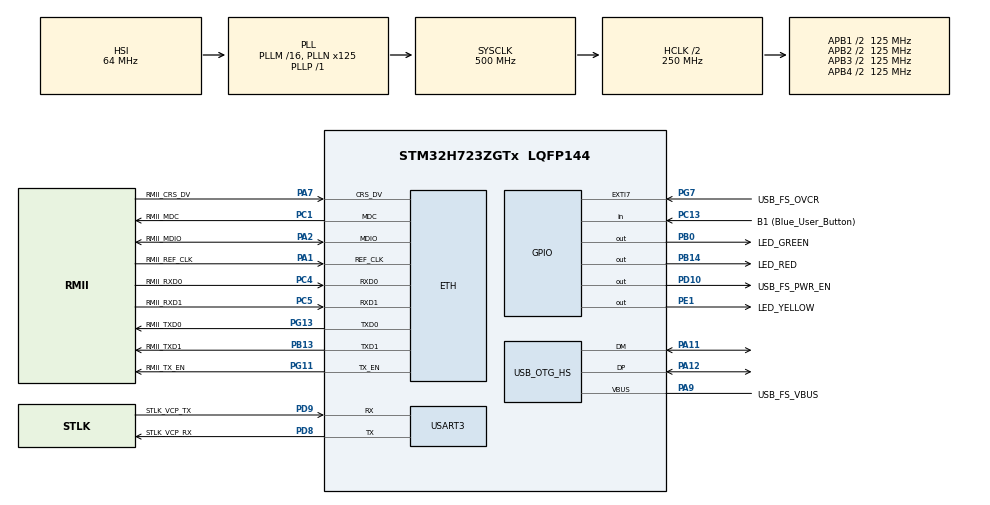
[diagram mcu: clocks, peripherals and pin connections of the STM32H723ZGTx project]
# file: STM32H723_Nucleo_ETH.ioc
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CORTEX_M7.AccessPermission_S-Cortex_Memory_Protection_Unit_Region1_Settings_S=MPU_REGION_FULL_ACCESS
CORTEX_M7.AccessPermission_S-Cortex_Memory_Protection_Unit_Region2_Settings_S=MPU_REGION_FULL_ACCESS
CORTEX_M7.BaseAddress_S-Cortex_Memory_Protection_Unit_Region1_Settings_S=0x30000000
CORTEX_M7.BaseAddress_S-Cortex_Memory_Protection_Unit_Region2_Settings_S=0x30000000
CORTEX_M7.CPU_DCache=Enabled
CORTEX_M7.CPU_ICache=Enabled
CORTEX_M7.DisableExec_S-Cortex_Memory_Protection_Unit_Region1_Settings_S=MPU_INSTRUCTION_ACCESS_DISABLE
CORTEX_M7.DisableExec_S-Cortex_Memory_Protection_Unit_Region2_Settings_S=MPU_INSTRUCTION_ACCESS_DISABLE
CORTEX_M7.Enable_S-Cortex_Memory_Protection_Unit_Region1_Settings_S=MPU_REGION_ENABLE
CORTEX_M7.Enable_S-Cortex_Memory_Protection_Unit_Region2_Settings_S=MPU_REGION_ENABLE
CORTEX_M7.IsBufferable_S-Cortex_Memory_Protection_Unit_Region2_Settings_S=MPU_ACCESS_BUFFERABLE
CORTEX_M7.IsShareable_S-Cortex_Memory_Protection_Unit_Region2_Settings_S=MPU_ACCESS_SHAREABLE
CORTEX_M7.Size_S-Cortex_Memory_Protection_Unit_Region1_Settings_S=MPU_REGION_SIZE_32KB
CORTEX_M7.Size_S-Cortex_Memory_Protection_Unit_Region2_Settings_S=MPU_REGION_SIZE_512B
CORTEX_M7.TypeExtField_S-Cortex_Memory_Protection_Unit_Region1_Settings_S=MPU_TEX_LEVEL1
CORTEX_M7.default_mode_Activation=1
ETH.MediaInterface=HAL_ETH_RMII_MODE
ETH.RxBuffAddress=0x30000200
ETH.RxBuffLen=1536
ETH.TxDescAddress=0x30000100
FREERTOS.Tasks01=defaultTask,24,512,StartDefaultTask,Default,NULL,Dynamic,NULL,NULL
FREERTOS.configCHECK_FOR_STACK_OVERFLOW=1
FREERTOS.configMINIMAL_STACK_SIZE=512
FREERTOS.configTOTAL_HEAP_SIZE=30*1024
FREERTOS.configUSE_NEWLIB_REENTRANT=1
LWIP.BSP.number=1
LWIP.DEFAULT_THREAD_STACKSIZE=2048
LWIP.IP_ADDRESS=192.168.003.010
LWIP.LWIP_DHCP=0
LWIP.LWIP_FIONREAD_LINUXMODE=0
LWIP.LWIP_RAM_HEAP_POINTER=0x30000200
LWIP.LWIP_SO_RCVBUF=0
LWIP.LWIP_SO_RCVTIMEO=1
LWIP.MEM_SIZE=32232
LWIP.NETMASK_ADDRESS=255.255.255.000
LWIP.TCPIP_THREAD_STACKSIZE=2048
LWIP.TCP_MSS=1460
LWIP.TCP_SND_BUF=5840
LWIP.TCP_SND_QUEUELEN=16
LWIP.Version=v2.1.2_Cube
LWIP0.BSP.STBoard=false
LWIP0.BSP.api=BSP_COMPONENT_DRIVER
LWIP0.BSP.component=LAN8742
LWIP0.BSP.instance=LAN8742
LWIP0.BSP.name=Driver_PHY
LWIP0.BSP.semaphore=S_LAN8742
LWIP0.BSP.solution=LAN8742
Mcu.Family=STM32H7
Mcu.Name=STM32H723ZGTx
Mcu.Package=LQFP144
NVIC.ETH_IRQn=true\:5\:0\:false\:false\:true\:true\:true\:true\:true
NVIC.OTG_HS_IRQn=true\:5\:0\:false\:false\:true\:true\:false\:true\:true
NVIC.PriorityGroup=NVIC_PRIORITYGROUP_4
NVIC.TIM6_DAC_IRQn=true\:15\:0\:false\:false\:true\:false\:false\:true\:true
NVIC.TimeBase=TIM6_DAC_IRQn
NVIC.TimeBaseIP=TIM6
NVIC.USART3_IRQn=true\:5\:0\:false\:false\:true\:true\:true\:true\:true
PA1.GPIO_Label=RMII_REF_CLK
PA1.GPIO_Speed=GPIO_SPEED_FREQ_VERY_HIGH
PA1.Mode=RMII
PA1.Signal=ETH_REF_CLK
PA10.GPIO_Label=USB_FS_ID
PA10.Signal=USB_OTG_HS_ID
PA11.Mode=Host_FS
PA11.Signal=USB_OTG_HS_DM
PA12.Mode=Host_FS
PA12.Signal=USB_OTG_HS_DP
PA13(JTMS/SWDIO).GPIO_Label=SWDIO
PA13(JTMS/SWDIO).Signal=DEBUG_JTMS-SWDIO
PA14(JTCK/SWCLK).GPIO_Label=SWCLK
PA14(JTCK/SWCLK).Signal=DEBUG_JTCK-SWCLK
PA2.GPIO_Label=RMII_MDIO
PA2.GPIO_Speed=GPIO_SPEED_FREQ_VERY_HIGH
PA2.Mode=RMII
PA2.Signal=ETH_MDIO
PA7.GPIO_Label=RMII_CRS_DV
PA7.GPIO_Speed=GPIO_SPEED_FREQ_VERY_HIGH
PA7.Mode=RMII
PA7.Signal=ETH_CRS_DV
PA9.GPIO_Label=USB_FS_VBUS
PA9.Mode=Activate_VBUS_FS
PA9.Signal=USB_OTG_HS_VBUS
PB0.GPIO_Label=LED_GREEN
PB0.PinState=GPIO_PIN_RESET
PB0.Signal=GPIO_Output
PB13.GPIO_Label=RMII_TXD1
PB13.GPIO_Speed=GPIO_SPEED_FREQ_VERY_HIGH
PB13.Mode=RMII
PB13.Signal=ETH_TXD1
PB14.GPIO_Label=LED_RED
PB14.Signal=GPIO_Output
PB3(JTDO/TRACESWO).GPIO_Label=SWO
PB3(JTDO/TRACESWO).Signal=DEBUG_JTDO-SWO
PC1.GPIO_Label=RMII_MDC
PC1.GPIO_Speed=GPIO_SPEED_FREQ_VERY_HIGH
PC1.Mode=RMII
PC1.Signal=ETH_MDC
PC13.GPIO_Label=B1 (Blue_User_Button)
PC13.Signal=GPIO_Input
PC14-OSC32_IN.Signal=RCC_OSC32_IN
PC15-OSC32_OUT.Signal=RCC_OSC32_OUT
PC4.GPIO_Label=RMII_RXD0
PC4.GPIO_Speed=GPIO_SPEED_FREQ_VERY_HIGH
PC4.Mode=RMII
PC4.Signal=ETH_RXD0
PC5.GPIO_Label=RMII_RXD1
PC5.GPIO_Speed=GPIO_SPEED_FREQ_VERY_HIGH
PC5.Mode=RMII
PC5.Signal=ETH_RXD1
PD10.GPIO_Label=USB_FS_PWR_EN
PD10.Signal=GPIO_Output
PD8.GPIO_Label=STLK_VCP_RX
PD8.Mode=Asynchronous
PD8.Signal=USART3_TX
PD9.GPIO_Label=STLK_VCP_TX
PD9.Mode=Asynchronous
PD9.Signal=USART3_RX
PE1.GPIO_Label=LED_YELLOW
PE1.Signal=GPIO_Output
PG11.GPIO_Label=RMII_TX_EN
PG11.GPIO_Speed=GPIO_SPEED_FREQ_VERY_HIGH
PG11.Mode=RMII
PG11.Signal=ETH_TX_EN
PG13.GPIO_Label=RMII_TXD0
PG13.GPIO_Speed=GPIO_SPEED_FREQ_VERY_HIGH
PG13.Mode=RMII
PG13.Signal=ETH_TXD0
PG7.GPIO_Label=USB_FS_OVCR
PG7.Signal=GPXTI7
PH0-OSC_IN.GPIO_Label=MCO
PH0-OSC_IN.Signal=RCC_OSC_IN
PH1-OSC_OUT.Signal=RCC_OSC_OUT
ProjectManager.HeapSize=0x200
ProjectManager.StackSize=0x400
ProjectManager.TargetToolchain=STM32CubeIDE
RCC.ADCFreq_Value=608000000
RCC.APB1Freq_Value=125000000
RCC.APB2Freq_Value=125000000
RCC.APB3Freq_Value=125000000
RCC.APB4Freq_Value=125000000
RCC.CortexFreq_Value=500000000
RCC.D1PPRE=RCC_APB3_DIV2
RCC.D2PPRE1=RCC_APB1_DIV2
RCC.D2PPRE2=RCC_APB2_DIV2
RCC.D3PPRE=RCC_APB4_DIV2
RCC.DIVM1=16
RCC.DIVM2=1
RCC.DIVN1=125
RCC.DIVN2=19
RCC.DIVP1=1
RCC.DIVQ1=4
RCC.HCLKFreq_Value=250000000
RCC.HPRE=RCC_HCLK_DIV2
RCC.HSE_VALUE=8000000
RCC.PLLFRACN=0
RCC.SYSCLKFreq_VALUE=500000000
RCC.SYSCLKSource=RCC_SYSCLKSOURCE_PLLCLK
RCC.USBCLockSelection=RCC_USBCLKSOURCE_HSI48
RCC.USBFreq_Value=48000000
RTC.Format=RTC_FORMAT_BIN
USART3.VirtualMode-Asynchronous=VM_ASYNC
USB_HOST.USBH_HandleTypeDef=hUsbHostHS
USB_HOST.VirtualModeHS=All_Classes
USB_OTG_HS.VirtualMode-Host_FS=Host_FS
VP_FREERTOS_VS_CMSIS_V2.Mode=CMSIS_V2
VP_LWIP_VS_Enabled.Mode=Enabled
VP_RTC_VS_RTC_Activate.Mode=RTC_Enabled
VP_RTC_VS_RTC_Calendar.Mode=RTC_Calendar
VP_SYS_VS_tim6.Mode=TIM6
VP_USB_HOST_VS_USB_HOST_ALL_CLASS_HS.Mode=ALL_Classes_HS
board=NUCLEO-H723ZG

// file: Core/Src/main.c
/* USER CODE BEGIN Header */
/**
 ******************************************************************************
 * @file           : main.c
 * @brief          : Main program body
 ******************************************************************************
 * @attention
 *
 * Copyright (c) 2022 STMicroelectronics.
 * All rights reserved.
 *
 * This software is licensed under terms that can be found in the LICENSE file
 * in the root directory of this software component.
 * If no LICENSE file comes with this software, it is provided AS-IS.
 *
 ******************************************************************************
 */
/* USER CODE END Header */
#include "main.h"
#include "cmsis_os.h"
#include "lwip.h"
#include "usb_host.h"

/* USER CODE BEGIN Includes */
/* ETH_CODE: add lwiperf, see comment in StartDefaultTask function */
#include "state_machine.h"
#include "logging.h"
/* USER CODE END Includes */

RTC_HandleTypeDef hrtc;

UART_HandleTypeDef huart3;

/* Definitions for defaultTask */
osThreadId_t defaultTaskHandle;
const osThreadAttr_t defaultTask_attributes = {
  .name = "defaultTask",
  .stack_size = 512 * 4,
  .priority = (osPriority_t) osPriorityNormal,
};
/* USER CODE BEGIN PV */
st_state_machine_t g_sm;
/* USER CODE END PV */

void SystemClock_Config(void);
static void MPU_Initialize(void);
static void MPU_Config(void);
static void MX_GPIO_Init(void);
static void MX_USART3_UART_Init(void);
static void MX_RTC_Init(void);
void StartDefaultTask(void *argument);

/* USER CODE BEGIN PFP */
void HAL_UART_TxCpltCallback(UART_HandleTypeDef *huart) {
//	if (huart == &huart2) {
//		fn_uart_com_tx_complete_isr_handler(&uart_com_state);
//
//		return;
//	}
}

void HAL_UART_RxCpltCallback(UART_HandleTypeDef *huart) {
//	if (huart == &huart2) {
//		fn_uart_com_rx_isr_handler(&uart_com_state);
//
//		return;
//	}
}
/* USER CODE END PFP */

/* USER CODE BEGIN 0 */
int __io_putchar(int value) {
	HAL_StatusTypeDef hal_status = HAL_OK;

	hal_status = HAL_UART_Transmit(&huart3, (uint8_t*) &value, sizeof(char),
			0xFFFF);

	if (hal_status != HAL_OK) {
		Error_Handler();
	}

	return value;
}
/* USER CODE END 0 */

int main(void)
{

  /* Enable I-Cache---------------------------------------------------------*/
  SCB_EnableICache();

  /* Enable D-Cache---------------------------------------------------------*/
  SCB_EnableDCache();

  /* MCU Configuration--------------------------------------------------------*/

  /* Reset of all peripherals, Initializes the Flash interface and the Systick. */
  HAL_Init();

  /* MPU Configuration--------------------------------------------------------*/
  MPU_Config();

  /* Configure the system clock */
  SystemClock_Config();

  /* Initialize all configured peripherals */
  MX_GPIO_Init();
  MX_USART3_UART_Init();
  MX_RTC_Init();
  /* USER CODE BEGIN 2 */
	fn_state_machine_init(&g_sm);
  /* USER CODE END 2 */

  /* Init scheduler */
  osKernelInitialize();

  /* Create the thread(s) */
  /* creation of defaultTask */
  defaultTaskHandle = osThreadNew(StartDefaultTask, NULL, &defaultTask_attributes);

  /* Start scheduler */
  osKernelStart();

  /* We should never get here as control is now taken by the scheduler */
  /* Infinite loop */
	while (1) {

	}
}

void SystemClock_Config(void)
{
  RCC_OscInitTypeDef RCC_OscInitStruct = {0};
  RCC_ClkInitTypeDef RCC_ClkInitStruct = {0};

  /** Supply configuration update enable
  */
  HAL_PWREx_ConfigSupply(PWR_LDO_SUPPLY);

  /** Configure the main internal regulator output voltage
  */
  __HAL_PWR_VOLTAGESCALING_CONFIG(PWR_REGULATOR_VOLTAGE_SCALE0);

  while(!__HAL_PWR_GET_FLAG(PWR_FLAG_VOSRDY)) {}

  /** Initializes the RCC Oscillators according to the specified parameters
  * in the RCC_OscInitTypeDef structure.
  */
  RCC_OscInitStruct.OscillatorType = RCC_OSCILLATORTYPE_HSI48|RCC_OSCILLATORTYPE_HSI
                              |RCC_OSCILLATORTYPE_LSI;
  RCC_OscInitStruct.HSIState = RCC_HSI_DIV1;
  RCC_OscInitStruct.HSICalibrationValue = 64;
  RCC_OscInitStruct.LSIState = RCC_LSI_ON;
  RCC_OscInitStruct.HSI48State = RCC_HSI48_ON;
  RCC_OscInitStruct.PLL.PLLState = RCC_PLL_ON;
  RCC_OscInitStruct.PLL.PLLSource = RCC_PLLSOURCE_HSI;
  RCC_OscInitStruct.PLL.PLLM = 16;
  RCC_OscInitStruct.PLL.PLLN = 125;
  RCC_OscInitStruct.PLL.PLLP = 1;
  RCC_OscInitStruct.PLL.PLLQ = 4;
  RCC_OscInitStruct.PLL.PLLR = 2;
  RCC_OscInitStruct.PLL.PLLRGE = RCC_PLL1VCIRANGE_2;
  RCC_OscInitStruct.PLL.PLLVCOSEL = RCC_PLL1VCOWIDE;
  RCC_OscInitStruct.PLL.PLLFRACN = 0;
  if (HAL_RCC_OscConfig(&RCC_OscInitStruct) != HAL_OK)
  {
    Error_Handler();
  }

  /** Initializes the CPU, AHB and APB buses clocks
  */
  RCC_ClkInitStruct.ClockType = RCC_CLOCKTYPE_HCLK|RCC_CLOCKTYPE_SYSCLK
                              |RCC_CLOCKTYPE_PCLK1|RCC_CLOCKTYPE_PCLK2
                              |RCC_CLOCKTYPE_D3PCLK1|RCC_CLOCKTYPE_D1PCLK1;
  RCC_ClkInitStruct.SYSCLKSource = RCC_SYSCLKSOURCE_PLLCLK;
  RCC_ClkInitStruct.SYSCLKDivider = RCC_SYSCLK_DIV1;
  RCC_ClkInitStruct.AHBCLKDivider = RCC_HCLK_DIV2;
  RCC_ClkInitStruct.APB3CLKDivider = RCC_APB3_DIV2;
  RCC_ClkInitStruct.APB1CLKDivider = RCC_APB1_DIV2;
  RCC_ClkInitStruct.APB2CLKDivider = RCC_APB2_DIV2;
  RCC_ClkInitStruct.APB4CLKDivider = RCC_APB4_DIV2;

  if (HAL_RCC_ClockConfig(&RCC_ClkInitStruct, FLASH_LATENCY_3) != HAL_OK)
  {
    Error_Handler();
  }
}

static void MX_RTC_Init(void)
{

  RTC_TimeTypeDef sTime = {0};
  RTC_DateTypeDef sDate = {0};

  /** Initialize RTC Only
  */
  hrtc.Instance = RTC;
  hrtc.Init.HourFormat = RTC_HOURFORMAT_24;
  hrtc.Init.AsynchPrediv = 127;
  hrtc.Init.SynchPrediv = 255;
  hrtc.Init.OutPut = RTC_OUTPUT_DISABLE;
  hrtc.Init.OutPutPolarity = RTC_OUTPUT_POLARITY_HIGH;
  hrtc.Init.OutPutType = RTC_OUTPUT_TYPE_OPENDRAIN;
  hrtc.Init.OutPutRemap = RTC_OUTPUT_REMAP_NONE;
  if (HAL_RTC_Init(&hrtc) != HAL_OK)
  {
    Error_Handler();
  }

  /** Initialize RTC and set the Time and Date
  */
  sTime.Hours = 0;
  sTime.Minutes = 0;
  sTime.Seconds = 0;
  sTime.DayLightSaving = RTC_DAYLIGHTSAVING_NONE;
  sTime.StoreOperation = RTC_STOREOPERATION_RESET;
  if (HAL_RTC_SetTime(&hrtc, &sTime, RTC_FORMAT_BIN) != HAL_OK)
  {
    Error_Handler();
  }
  sDate.WeekDay = RTC_WEEKDAY_MONDAY;
  sDate.Month = RTC_MONTH_JANUARY;
  sDate.Date = 1;
  sDate.Year = 0;

  if (HAL_RTC_SetDate(&hrtc, &sDate, RTC_FORMAT_BIN) != HAL_OK)
  {
    Error_Handler();
  }

}

static void MX_USART3_UART_Init(void)
{

  huart3.Instance = USART3;
  huart3.Init.BaudRate = 115200;
  huart3.Init.WordLength = UART_WORDLENGTH_8B;
  huart3.Init.StopBits = UART_STOPBITS_1;
  huart3.Init.Parity = UART_PARITY_NONE;
  huart3.Init.Mode = UART_MODE_TX_RX;
  huart3.Init.HwFlowCtl = UART_HWCONTROL_NONE;
  huart3.Init.OverSampling = UART_OVERSAMPLING_16;
  huart3.Init.OneBitSampling = UART_ONE_BIT_SAMPLE_DISABLE;
  huart3.Init.ClockPrescaler = UART_PRESCALER_DIV1;
  huart3.AdvancedInit.AdvFeatureInit = UART_ADVFEATURE_NO_INIT;
  if (HAL_UART_Init(&huart3) != HAL_OK)
  {
    Error_Handler();
  }
  if (HAL_UARTEx_SetTxFifoThreshold(&huart3, UART_TXFIFO_THRESHOLD_1_8) != HAL_OK)
  {
    Error_Handler();
  }
  if (HAL_UARTEx_SetRxFifoThreshold(&huart3, UART_RXFIFO_THRESHOLD_1_8) != HAL_OK)
  {
    Error_Handler();
  }
  if (HAL_UARTEx_DisableFifoMode(&huart3) != HAL_OK)
  {
    Error_Handler();
  }

}

static void MX_GPIO_Init(void)
{
  GPIO_InitTypeDef GPIO_InitStruct = {0};

  /* GPIO Ports Clock Enable */
  __HAL_RCC_GPIOC_CLK_ENABLE();
  __HAL_RCC_GPIOH_CLK_ENABLE();
  __HAL_RCC_GPIOA_CLK_ENABLE();
  __HAL_RCC_GPIOB_CLK_ENABLE();
  __HAL_RCC_GPIOD_CLK_ENABLE();
  __HAL_RCC_GPIOG_CLK_ENABLE();
  __HAL_RCC_GPIOE_CLK_ENABLE();

  /*Configure GPIO pin Output Level */
  HAL_GPIO_WritePin(GPIOB, LED_GREEN_Pin|LED_RED_Pin, GPIO_PIN_RESET);

  /*Configure GPIO pin Output Level */
  HAL_GPIO_WritePin(USB_FS_PWR_EN_GPIO_Port, USB_FS_PWR_EN_Pin, GPIO_PIN_RESET);

  /*Configure GPIO pin Output Level */
  HAL_GPIO_WritePin(LED_YELLOW_GPIO_Port, LED_YELLOW_Pin, GPIO_PIN_RESET);

  /*Configure GPIO pin : B1_Pin */
  GPIO_InitStruct.Pin = B1_Pin;
  GPIO_InitStruct.Mode = GPIO_MODE_INPUT;
  GPIO_InitStruct.Pull = GPIO_NOPULL;
  HAL_GPIO_Init(B1_GPIO_Port, &GPIO_InitStruct);

  /*Configure GPIO pins : LED_GREEN_Pin LED_RED_Pin */
  GPIO_InitStruct.Pin = LED_GREEN_Pin|LED_RED_Pin;
  GPIO_InitStruct.Mode = GPIO_MODE_OUTPUT_PP;
  GPIO_InitStruct.Pull = GPIO_NOPULL;
  GPIO_InitStruct.Speed = GPIO_SPEED_FREQ_LOW;
  HAL_GPIO_Init(GPIOB, &GPIO_InitStruct);

  /*Configure GPIO pin : USB_FS_PWR_EN_Pin */
  GPIO_InitStruct.Pin = USB_FS_PWR_EN_Pin;
  GPIO_InitStruct.Mode = GPIO_MODE_OUTPUT_PP;
  GPIO_InitStruct.Pull = GPIO_NOPULL;
  GPIO_InitStruct.Speed = GPIO_SPEED_FREQ_LOW;
  HAL_GPIO_Init(USB_FS_PWR_EN_GPIO_Port, &GPIO_InitStruct);

  /*Configure GPIO pin : USB_FS_OVCR_Pin */
  GPIO_InitStruct.Pin = USB_FS_OVCR_Pin;
  GPIO_InitStruct.Mode = GPIO_MODE_IT_RISING;
  GPIO_InitStruct.Pull = GPIO_NOPULL;
  HAL_GPIO_Init(USB_FS_OVCR_GPIO_Port, &GPIO_InitStruct);

  /*Configure GPIO pin : LED_YELLOW_Pin */
  GPIO_InitStruct.Pin = LED_YELLOW_Pin;
  GPIO_InitStruct.Mode = GPIO_MODE_OUTPUT_PP;
  GPIO_InitStruct.Pull = GPIO_NOPULL;
  GPIO_InitStruct.Speed = GPIO_SPEED_FREQ_LOW;
  HAL_GPIO_Init(LED_YELLOW_GPIO_Port, &GPIO_InitStruct);

}

void StartDefaultTask(void *argument)
{
  /* init code for LWIP */
  MX_LWIP_Init();

  /* init code for USB_HOST */
  MX_USB_HOST_Init();
  /* USER CODE BEGIN 5 */
    mlog("Starting");

	fn_state_machine_start(&g_sm);

	/* Infinite loop */
	for (;;) {
		fn_state_machine_loop(&g_sm);
		osDelay(200);
	}
  /* USER CODE END 5 */
}

/* MPU Configuration */

void MPU_Config(void)
{
  MPU_Region_InitTypeDef MPU_InitStruct = {0};

  /* Disables the MPU */
  HAL_MPU_Disable();

  /** Initializes and configures the Region and the memory to be protected
  */
  MPU_InitStruct.Enable = MPU_REGION_ENABLE;
  MPU_InitStruct.Number = MPU_REGION_NUMBER0;
  MPU_InitStruct.BaseAddress = 0x0;
  MPU_InitStruct.Size = MPU_REGION_SIZE_4GB;
  MPU_InitStruct.SubRegionDisable = 0x87;
  MPU_InitStruct.TypeExtField = MPU_TEX_LEVEL0;
  MPU_InitStruct.AccessPermission = MPU_REGION_NO_ACCESS;
  MPU_InitStruct.DisableExec = MPU_INSTRUCTION_ACCESS_DISABLE;
  MPU_InitStruct.IsShareable = MPU_ACCESS_SHAREABLE;
  MPU_InitStruct.IsCacheable = MPU_ACCESS_NOT_CACHEABLE;
  MPU_InitStruct.IsBufferable = MPU_ACCESS_NOT_BUFFERABLE;

  HAL_MPU_ConfigRegion(&MPU_InitStruct);

  /** Initializes and configures the Region and the memory to be protected
  */
  MPU_InitStruct.Number = MPU_REGION_NUMBER1;
  MPU_InitStruct.BaseAddress = 0x30000000;
  MPU_InitStruct.Size = MPU_REGION_SIZE_32KB;
  MPU_InitStruct.SubRegionDisable = 0x0;
  MPU_InitStruct.TypeExtField = MPU_TEX_LEVEL1;
  MPU_InitStruct.AccessPermission = MPU_REGION_FULL_ACCESS;
  MPU_InitStruct.IsShareable = MPU_ACCESS_NOT_SHAREABLE;

  HAL_MPU_ConfigRegion(&MPU_InitStruct);

  /** Initializes and configures the Region and the memory to be protected
  */
  MPU_InitStruct.Number = MPU_REGION_NUMBER2;
  MPU_InitStruct.Size = MPU_REGION_SIZE_512B;
  MPU_InitStruct.TypeExtField = MPU_TEX_LEVEL0;
  MPU_InitStruct.IsShareable = MPU_ACCESS_SHAREABLE;
  MPU_InitStruct.IsBufferable = MPU_ACCESS_BUFFERABLE;

  HAL_MPU_ConfigRegion(&MPU_InitStruct);
  /* Enables the MPU */
  HAL_MPU_Enable(MPU_PRIVILEGED_DEFAULT);

}

void HAL_TIM_PeriodElapsedCallback(TIM_HandleTypeDef *htim)
{
  if (htim->Instance == TIM6) {
    HAL_IncTick();
  }
}

void Error_Handler(void)
{
  /* USER CODE BEGIN Error_Handler_Debug */
	/* User can add his own implementation to report the HAL error return state */
	printf("Error occurred!\r\n");

	/* User can add his own implementation to report the HAL error return state */
	__disable_irq();
	while (1) {
		// Blinks the red led. We're using loops and the no-operation instruction
		//  because the HAL_Delay won't work here since it depends on interrupts.
		//  Which have been disabled.
		HAL_GPIO_WritePin(LED_RED_GPIO_Port, LED_RED_Pin, GPIO_PIN_SET);
		for (uint32_t i = 0; i < 50 * 1000 * 1000; ++i)
			__asm ("nop\n\t");
		HAL_GPIO_WritePin(LED_RED_GPIO_Port, LED_RED_Pin, GPIO_PIN_RESET);
		for (uint32_t i = 0; i < 50 * 1000 * 1000; ++i)
			__asm ("nop\n\t");
	}
  /* USER CODE END Error_Handler_Debug */
}
